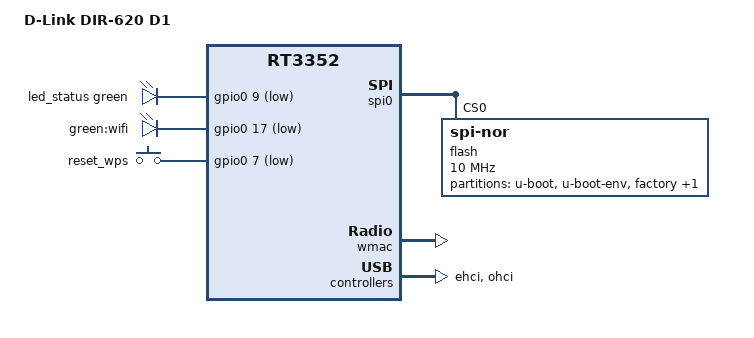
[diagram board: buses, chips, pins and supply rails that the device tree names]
#include "rt3352.dtsi"

#include <dt-bindings/gpio/gpio.h>
#include <dt-bindings/input/input.h>
#include <dt-bindings/leds/common.h>

/ {
	compatible = "dlink,dir-620-d1", "ralink,rt3352-soc";
	model = "D-Link DIR-620 D1";

	aliases {
		led-boot = &led_status;
		led-failsafe = &led_status;
		led-running = &led_status;
		led-upgrade = &led_status;
	};

	leds {
		compatible = "gpio-leds";

		led_status: status {
			function = LED_FUNCTION_STATUS;
			color = <LED_COLOR_ID_GREEN>;
			gpios = <&gpio0 9 GPIO_ACTIVE_LOW>;
		};

		wifi {
			label = "green:wifi";
			gpios = <&gpio0 17 GPIO_ACTIVE_LOW>;
		};
	};

	keys {
		compatible = "gpio-keys";

		reset_wps {
			label = "reset_wps";
			gpios = <&gpio0 7 GPIO_ACTIVE_LOW>;
			linux,code = <KEY_RESTART>;
		};
	};
};

&spi0 {
	status = "okay";

	flash@0 {
		compatible = "jedec,spi-nor";
		reg = <0>;
		spi-max-frequency = <10000000>;

		partitions {
			compatible = "fixed-partitions";
			#address-cells = <1>;
			#size-cells = <1>;

			partition@0 {
				label = "u-boot";
				reg = <0x0 0x30000>;
				read-only;
			};

			partition@30000 {
				label = "u-boot-env";
				reg = <0x30000 0x10000>;
				read-only;
			};

			partition@40000 {
				label = "factory";
				reg = <0x40000 0x10000>;
				read-only;

				nvmem-layout {
					compatible = "fixed-layout";
					#address-cells = <1>;
					#size-cells = <1>;

					eeprom_factory_0: eeprom@0 {
						reg = <0x0 0x200>;
					};

					macaddr_factory_4: macaddr@4 {
						reg = <0x4 0x6>;
					};
				};
			};

			partition@50000 {
				compatible = "denx,uimage";
				label = "firmware";
				reg = <0x50000 0x7b0000>;
			};
		};
	};
};

&state_default {
	gpio {
		groups = "i2c", "jtag", "uartf";
		function = "gpio";
	};
};

&ethernet {
	nvmem-cells = <&macaddr_factory_4>;
	nvmem-cell-names = "mac-address";
	pinctrl-names = "default";
	pinctrl-0 = <&rgmii_pins &mdio_pins>;
};

&esw {
	mediatek,portmap = <0x2f>;
};

&wmac {
	nvmem-cells = <&eeprom_factory_0>;
	nvmem-cell-names = "eeprom";
};

&ehci {
	status = "okay";
};

&ohci {
	status = "okay";
};
